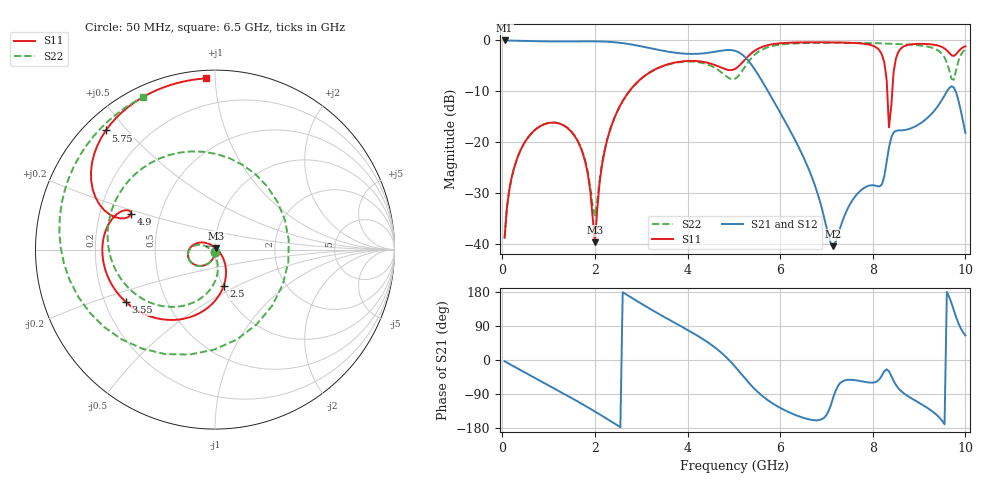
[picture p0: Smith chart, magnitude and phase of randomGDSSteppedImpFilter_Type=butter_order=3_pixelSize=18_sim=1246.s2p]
! freq	dB(S11)	phase(S11)	dB(S12)	phase(S12)
!  dB(S21)	phase(S21)	dB(S22)	phase(S22)
!S-par simulation data
#  GHz  S  DB  R 50
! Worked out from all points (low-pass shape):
!   200 points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, 50 MHz to 10 GHz, reference 50 ohm
!   highest |S21| = -0.02 dB at 50 MHz (marker M1); lowest = -40.5 dB at 7.15 GHz (marker M2)
!   |S21| within 3 dB of the highest: start of sweep to 5.208 GHz
!   lowest |S11| = -39.8 dB at 2 GHz (marker M3), VSWR 1.02, Z = 50.8 + j0.642 ohm
!   |S11| at or under -10 dB: start of sweep to 2.744 GHz; 8.312 GHz to 8.422 GHz (109.6 MHz wide, 1.31 % of centre)
!   |S22| runs from -38.8 to -0.5 dB; largest |S21 - S12| = 0
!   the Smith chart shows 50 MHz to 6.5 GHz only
!   S11 on the Smith chart (normalised r, x): 50 MHz: 1.00, -0.02; 2.5 GHz: 1.01, -0.43; 3.55 GHz: 0.29, -0.25; 4.9 GHz: 0.34, +0.18; 5.75 GHz: 0.06, +0.44; 6.5 GHz: 0.04, +0.95
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0.05  -38.84 -83.9  -0.02 -3.4  -0.02 -3.4  -38.84 -83.9
0.65  -18.12 -132.9  -0.16 -43.7  -0.16 -43.7  -18.11 -132.7
1.75  -22.58 148.0  -0.19 -117.9  -0.19 -117.9  -22.41 160.7
2  -39.77 38.0  -0.19 -135.9  -0.19 -135.9  -34.61 -136.3
2.5  -13.65 -76.5  -0.44 -173.5  -0.44 -173.5  -13.65 -94.5
3.4  -5.29 -140.4  -1.93 120.3  -1.93 120.3  -5.33 -160.3
3.55  -4.78 -149.6  -2.18 109.9  -2.18 109.9  -4.84 -171.3
4.45  -4.45 163.7  -2.45 45.6  -2.45 45.6  -4.81 109.8
4.9  -5.86 156.9  -1.90 -0.6  -1.90 -0.6  -7.47 23.3
5.05  -5.48 160.8  -2.14 -20.9  -2.14 -20.9  -7.44 -27.0
5.35  -2.77 156.4  -4.43 -63.7  -4.43 -63.7  -3.81 -115.6
5.75  -0.91 132.5  -10.21 -107.4  -10.21 -107.4  -1.31 179.3
6.5  -0.40 93.0  -22.92 -152.6  -22.92 -152.6  -0.55 115.5
6.7  -0.38 83.5  -27.27 -158.4  -27.27 -158.4  -0.51 102.5
7.15  -0.40 62.3  -40.51 -97.3  -40.51 -97.3  -0.48 75.4
8.05  -1.25 8.6  -28.58 -58.7  -28.58 -58.7  -0.56 23.6
8.25  -4.41 -21.7  -26.70 -29.5  -26.70 -29.5  -0.62 12.0
8.35  -17.12 -29.2  -21.09 -29.9  -21.09 -29.9  -0.68 6.2
8.55  -2.34 44.6  -17.74 -74.1  -17.74 -74.1  -0.73 -5.4
9.35  -0.91 -19.2  -13.62 -141.8  -13.62 -141.8  -1.70 -59.6
9.7  -2.93 -33.9  -9.04 150.1  -9.04 150.1  -7.59 -75.7
10  -1.16 -38.3  -18.24 64.7  -18.24 64.7  -1.79 -70.3
